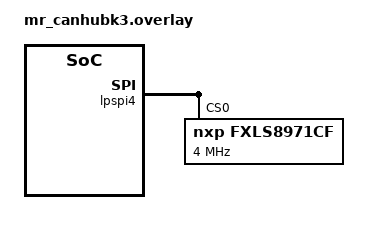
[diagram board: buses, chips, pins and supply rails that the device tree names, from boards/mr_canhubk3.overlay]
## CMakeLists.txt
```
# SPDX-License-Identifier: Apache-2.0

cmake_minimum_required(VERSION 3.20.0)
find_package(Zephyr REQUIRED HINTS $ENV{ZEPHYR_BASE})
project(fxls8971cf)

FILE(GLOB app_sources src/*.c)
target_sources(app PRIVATE ${app_sources})
```

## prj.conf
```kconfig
CONFIG_STDOUT_CONSOLE=y
CONFIG_LOG=y
CONFIG_FXLS8971CF_LOG_LEVEL_DBG=y
CONFIG_LOG_BUFFER_SIZE=65536
CONFIG_CBPRINTF_FP_SUPPORT=y

CONFIG_FXLS8971CF=y
CONFIG_SENSOR=y

CONFIG_SPI=y
```

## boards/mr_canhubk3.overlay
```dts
/*
 * Copyright 2023 NXP
 *
 * SPDX-License-Identifier: Apache-2.0
 */

#include <zephyr/dt-bindings/spi/spi.h>

&lpspi4 {
	status = "okay";

	fxls8971cf: accelerometer@0 {
		status = "okay";
		compatible = "nxp,fxls8971cf";
		reg = <0>;
		spi-max-frequency = <4000000>;
		duplex = <SPI_FULL_DUPLEX>;
	};
};
```

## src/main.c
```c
/*
 * Copyright 2023 NXP
 *
 * SPDX-License-Identifier: Apache-2.0
 */

#include <zephyr/kernel.h>
#include <zephyr/device.h>

#include <zephyr/drivers/sensor/fxls8971cf.h>

#include <zephyr/logging/log.h>
LOG_MODULE_DECLARE(fxls8971cf, CONFIG_FXLS8971CF_LOG_LEVEL);

static const struct device *fxls8971cf_dev;
static const struct fxls8971cf_dev_api *fxls8971cf_api;

void main(void)
{
	LOG_INF("temp: execution started.");

	fxls8971cf_dev = DEVICE_DT_GET(DT_NODELABEL(fxls8971cf));
	if (!device_is_ready(fxls8971cf_dev)) {
		LOG_ERR("Device %s is not ready. Returning.", fxls8971cf_dev->name);
		return;
	}

	fxls8971cf_api = fxls8971cf_dev->api;

	int ret = 0;
	while (true) {
		ret |= fxls8971cf_api->read_data(fxls8971cf_dev);
		ret |= fxls8971cf_api->display_data(fxls8971cf_dev);

		if (ret) {
			LOG_ERR("Error %d while reading data. Returning.", ret);
			return;
		}

        k_sleep(K_MSEC(100));
	}

	LOG_INF("temp: execution completed.");
}
```
